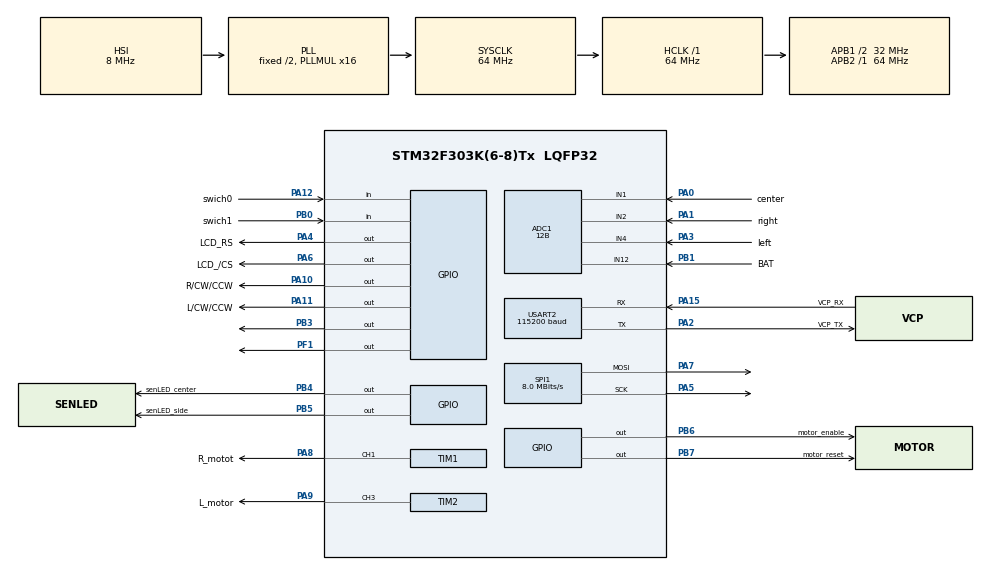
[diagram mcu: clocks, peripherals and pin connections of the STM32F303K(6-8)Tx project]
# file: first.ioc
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ADC1.Channel-0\#ChannelRegularConversion=ADC_CHANNEL_12
ADC1.Channel-1\#ChannelRegularConversion=ADC_CHANNEL_1
ADC1.Channel-2\#ChannelRegularConversion=ADC_CHANNEL_4
ADC1.Channel-5\#ChannelRegularConversion=ADC_CHANNEL_2
ADC1.ClockPrescaler=ADC_CLOCK_SYNC_PCLK_DIV4
ADC1.ContinuousConvMode=ENABLE
ADC1.DMAContinuousRequests=ENABLE
ADC1.DataAlign=ADC_DATAALIGN_RIGHT
ADC1.DiscontinuousConvMode=DISABLE
ADC1.EOCSelection=ADC_EOC_SINGLE_CONV
ADC1.EnableAnalogWatchDog1=false
ADC1.EnableAnalogWatchDog2=false
ADC1.EnableAnalogWatchDog3=false
ADC1.EnableInjectedConversion=DISABLE
ADC1.EnableRegularConversion=ENABLE
ADC1.ExternalTrigConv=ADC_SOFTWARE_START
ADC1.ExternalTrigConvEdge=ADC_EXTERNALTRIGCONVEDGE_NONE
ADC1.LowPowerAutoWait=DISABLE
ADC1.NbrOfConversion=4
ADC1.NbrOfConversionFlag=1
ADC1.Offset-0\#ChannelRegularConversion=0
ADC1.Offset-1\#ChannelRegularConversion=0
ADC1.Offset-2\#ChannelRegularConversion=0
ADC1.Offset-5\#ChannelRegularConversion=0
ADC1.OffsetNumber-0\#ChannelRegularConversion=ADC_OFFSET_NONE
ADC1.OffsetNumber-1\#ChannelRegularConversion=ADC_OFFSET_NONE
ADC1.OffsetNumber-2\#ChannelRegularConversion=ADC_OFFSET_NONE
ADC1.OffsetNumber-5\#ChannelRegularConversion=ADC_OFFSET_NONE
ADC1.Overrun=ADC_OVR_DATA_OVERWRITTEN
ADC1.Rank-0\#ChannelRegularConversion=1
ADC1.Rank-1\#ChannelRegularConversion=2
ADC1.Rank-2\#ChannelRegularConversion=3
ADC1.Rank-5\#ChannelRegularConversion=4
ADC1.Resolution=ADC_RESOLUTION_12B
ADC1.SamplingTime-0\#ChannelRegularConversion=ADC_SAMPLETIME_19CYCLES_5
ADC1.SamplingTime-1\#ChannelRegularConversion=ADC_SAMPLETIME_19CYCLES_5
ADC1.SamplingTime-2\#ChannelRegularConversion=ADC_SAMPLETIME_19CYCLES_5
ADC1.SamplingTime-5\#ChannelRegularConversion=ADC_SAMPLETIME_19CYCLES_5
ADC1.ScanConvMode=ADC_SCAN_ENABLE
ADC1.SubFamily=STM32F303x8
ADC1.master=1
Dma.ADC1.0.Direction=DMA_PERIPH_TO_MEMORY
Dma.ADC1.0.Instance=DMA1_Channel1
Dma.ADC1.0.MemDataAlignment=DMA_MDATAALIGN_HALFWORD
Dma.ADC1.0.MemInc=DMA_MINC_ENABLE
Dma.ADC1.0.Mode=DMA_CIRCULAR
Dma.ADC1.0.PeriphDataAlignment=DMA_PDATAALIGN_HALFWORD
Dma.ADC1.0.PeriphInc=DMA_PINC_DISABLE
Dma.ADC1.0.Priority=DMA_PRIORITY_LOW
Dma.Request0=ADC1
Mcu.Family=STM32F3
Mcu.Name=STM32F303K(6-8)Tx
Mcu.Package=LQFP32
NVIC.DMA1_Channel1_IRQn=true\:4\:0\:true\:false\:true\:false
NVIC.PriorityGroup=NVIC_PRIORITYGROUP_4
NVIC.TIM1_CC_IRQn=true\:0\:0\:false\:false\:true\:true
NVIC.TIM1_UP_TIM16_IRQn=true\:1\:0\:true\:false\:true\:true
NVIC.TIM2_IRQn=true\:2\:0\:true\:false\:true\:true
NVIC.TIM3_IRQn=true\:0\:0\:false\:false\:true\:true
NVIC.TIM6_DAC1_IRQn=true\:3\:0\:true\:false\:true\:true
PA0.GPIO_Label=center
PA0.Mode=IN1-Single-Ended
PA0.Signal=ADC1_IN1
PA1.GPIO_Label=right
PA1.Mode=IN2-Single-Ended
PA1.Signal=ADC1_IN2
PA10.GPIO_Label=R/CW/CCW
PA10.Signal=GPIO_Output
PA11.GPIO_Label=L/CW/CCW
PA11.Signal=GPIO_Output
PA12.GPIO_Label=swich0
PA12.GPIO_PuPd=GPIO_PULLUP
PA12.Signal=GPIO_Input
PA13.GPIO_Label=SWDIO
PA13.Mode=Serial_Wire
PA13.Signal=SYS_JTMS-SWDIO
PA14.GPIO_Label=SWCLK
PA14.Mode=Serial_Wire
PA14.Signal=SYS_JTCK-SWCLK
PA15.GPIO_Label=VCP_RX
PA15.Mode=Asynchronous
PA15.Signal=USART2_RX
PA2.GPIO_Label=VCP_TX
PA2.Mode=Asynchronous
PA2.Signal=USART2_TX
PA3.GPIO_Label=left
PA3.Mode=IN4-Single-Ended
PA3.Signal=ADC1_IN4
PA4.GPIO_Label=LCD_RS
PA4.GPIO_PuPd=GPIO_PULLDOWN
PA4.Signal=GPIO_Output
PA5.GPIO_PuPd=GPIO_PULLUP
PA5.Mode=TX_Only_Simplex_Unidirect_Master
PA5.Signal=SPI1_SCK
PA6.GPIO_Label=LCD_/CS
PA6.GPIO_PuPd=GPIO_PULLUP
PA6.Signal=GPIO_Output
PA7.GPIO_PuPd=GPIO_PULLUP
PA7.Mode=TX_Only_Simplex_Unidirect_Master
PA7.Signal=SPI1_MOSI
PA8.GPIO_Label=R_motot
PA8.Signal=S_TIM1_CH1
PA9.GPIO_Label=L_motor
PA9.Signal=S_TIM2_CH3
PB0.GPIO_Label=swich1
PB0.GPIO_PuPd=GPIO_PULLUP
PB0.Signal=GPIO_Input
PB1.GPIO_Label=BAT
PB1.Mode=IN12-Single-Ended
PB1.Signal=ADC1_IN12
PB3.Signal=GPIO_Output
PB4.GPIO_Label=senLED_center
PB4.Signal=GPIO_Output
PB5.GPIO_Label=senLED_side
PB5.Signal=GPIO_Output
PB6.GPIO_Label=motor_enable
PB6.Signal=GPIO_Output
PB7.GPIO_Label=motor_reset
PB7.Signal=GPIO_Output
PF0\ /\ OSC_IN.GPIO_Label=MCO
PF0\ /\ OSC_IN.Mode=HSE-External-Clock-Source
PF0\ /\ OSC_IN.Signal=RCC_OSC_IN
PF1\ /\ OSC_OUT.Signal=GPIO_Output
ProjectManager.HeapSize=0x200
ProjectManager.StackSize=0x400
ProjectManager.TargetToolchain=SW4STM32
RCC.AHBFreq_Value=64000000
RCC.APB1CLKDivider=RCC_HCLK_DIV2
RCC.APB1Freq_Value=32000000
RCC.APB1TimFreq_Value=64000000
RCC.APB2Freq_Value=64000000
RCC.APB2TimFreq_Value=64000000
RCC.CortexFreq_Value=64000000
RCC.HCLKFreq_Value=64000000
RCC.HSE_VALUE=12000000
RCC.HSI_VALUE=8000000
RCC.PLLMUL=RCC_PLL_MUL16
RCC.SYSCLKFreq_VALUE=64000000
RCC.SYSCLKSourceVirtual=RCC_SYSCLKSOURCE_PLLCLK
SH.S_TIM1_CH1.0=TIM1_CH1,PWM Generation1 CH1
SH.S_TIM2_CH3.0=TIM2_CH3,PWM Generation3 CH3
SPI1.BaudRatePrescaler=SPI_BAUDRATEPRESCALER_8
SPI1.CLKPhase=SPI_PHASE_2EDGE
SPI1.CLKPolarity=SPI_POLARITY_HIGH
SPI1.CalculateBaudRate=8.0 MBits/s
SPI1.DataSize=SPI_DATASIZE_8BIT
SPI1.Direction=SPI_DIRECTION_2LINES
SPI1.Mode=SPI_MODE_MASTER
SPI1.VirtualType=VM_MASTER
TIM1.AutoReloadPreload=TIM_AUTORELOAD_PRELOAD_ENABLE
TIM1.Channel-PWM\ Generation1\ CH1=TIM_CHANNEL_1
TIM1.Period=10000-1
TIM1.Prescaler=8-1
TIM1.Pulse-PWM\ Generation1\ CH1=5000-1
TIM2.AutoReloadPreload=TIM_AUTORELOAD_PRELOAD_ENABLE
TIM2.Channel-PWM\ Generation3\ CH3=TIM_CHANNEL_3
TIM2.Period=10000-1
TIM2.Prescaler=8-1
TIM2.Pulse-PWM\ Generation3\ CH3=5000-1
TIM3.AutoReloadPreload=TIM_AUTORELOAD_PRELOAD_ENABLE
TIM3.Period=2273-1
TIM3.Prescaler=72-1
TIM6.AutoReloadPreload=TIM_AUTORELOAD_PRELOAD_ENABLE
TIM6.Period=1000-1
TIM6.Prescaler=64-1
USART2.BaudRate=115200
USART2.VirtualMode-Asynchronous=VM_ASYNC
USART2.WordLength=WORDLENGTH_8B
VP_TIM3_VS_ClockSourceINT.Mode=Internal
VP_TIM6_VS_ClockSourceINT.Mode=Enable_Timer
board=NUCLEO-F303K8

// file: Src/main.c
/**
 ******************************************************************************
 * @file           : main.c
 * @brief          : Main program body
 ******************************************************************************
 ** This notice applies to any and all portions of this file
 * that are not between comment pairs USER CODE BEGIN and
 * USER CODE END. Other portions of this file, whether
 * inserted by the user or by software development tools
 * are owned by their respective copyright owners.
 *
 * COPYRIGHT(c) 2019 STMicroelectronics
 *
 * Redistribution and use in source and binary forms, with or without modification,
 * are permitted provided that the following conditions are met:
 *   1. Redistributions of source code must retain the above copyright notice,
 *      this list of conditions and the following disclaimer.
 *   2. Redistributions in binary form must reproduce the above copyright notice,
 *      this list of conditions and the following disclaimer in the documentation
 *      and/or other materials provided with the distribution.
 *   3. Neither the name of STMicroelectronics nor the names of its contributors
 *      may be used to endorse or promote products derived from this software
 *      without specific prior written permission.
 *
 * THIS SOFTWARE IS PROVIDED BY THE COPYRIGHT HOLDERS AND CONTRIBUTORS "AS IS"
 * AND ANY EXPRESS OR IMPLIED WARRANTIES, INCLUDING, BUT NOT LIMITED TO, THE
 * IMPLIED WARRANTIES OF MERCHANTABILITY AND FITNESS FOR A PARTICULAR PURPOSE ARE
 * DISCLAIMED. IN NO EVENT SHALL THE COPYRIGHT HOLDER OR CONTRIBUTORS BE LIABLE
 * FOR ANY DIRECT, INDIRECT, INCIDENTAL, SPECIAL, EXEMPLARY, OR CONSEQUENTIAL
 * DAMAGES (INCLUDING, BUT NOT LIMITED TO, PROCUREMENT OF SUBSTITUTE GOODS OR
 * SERVICES; LOSS OF USE, DATA, OR PROFITS; OR BUSINESS INTERRUPTION) HOWEVER
 * CAUSED AND ON ANY THEORY OF LIABILITY, WHETHER IN CONTRACT, STRICT LIABILITY,
 * OR TORT (INCLUDING NEGLIGENCE OR OTHERWISE) ARISING IN ANY WAY OUT OF THE USE
 * OF THIS SOFTWARE, EVEN IF ADVISED OF THE POSSIBILITY OF SUCH DAMAGE.
 *
 ******************************************************************************
 */
#include "main.h"
#include "stm32f3xx_hal.h"
#include "adc.h"
#include "dma.h"
#include "spi.h"
#include "tim.h"
#include "usart.h"
#include "gpio.h"

/* USER CODE BEGIN Includes */
#include "aqm1248a.h"
#include "myassign.h"
#include <math.h>
#include <stdint.h>
#include "motor.h"
#include "AD.h"
#include "wall.h"
#include "turn.h"
#include "hidarite.h"
#include "Traacceleration.h"
#include "map.h"
#include "modeselect.h"
#include "adachi.h"
extern uint16_t g_ADCBuffer[4];

//extern tarparameter g_targetTrans;

/* USER CODE END Includes */

/* USER CODE BEGIN PV */
/* Private variables ---------------------------------------------------------*/
#ifdef __GNUC__
/* With GCC/RAISONANCE, small printf (option LD Linker->Libraries->Small printf
 set to 'Yes') calls __io_putchar() */
#define PUTCHAR_PROTOTYPE int __io_putchar(int ch)
#else
#define PUTCHAR_PROTOTYPE int fputc(int ch, FILE *f)
#endif /* __GNUC__ */

/**
 * @brief  Retargets the C library printf function to the USART.
 * @param  None
 * @retval None
 */
PUTCHAR_PROTOTYPE {
	/* Place your implementation of fputc here */
	/* e.g. write a character to the USART3 and Loop until the end of transmission */
	HAL_UART_Transmit(&huart2, (uint8_t *) &ch, 1, 0xFFFF);

	return ch;
}
/* USER CODE END PV */

void SystemClock_Config(void);

/* USER CODE BEGIN PFP */
/* Private function prototypes -----------------------------------------------*/

/* USER CODE END PFP */

int main(void) {

	/* MCU Configuration----------------------------------------------------------*/

	/* Reset of all peripherals, Initializes the Flash interface and the Systick. */
	HAL_Init();

	/* Configure the system clock */
	SystemClock_Config();

	/* Initialize all configured peripherals */
	MX_GPIO_Init();
	MX_DMA_Init();
	MX_ADC1_Init();
	MX_SPI1_Init();
	MX_TIM1_Init();
	MX_USART2_UART_Init();
	MX_TIM3_Init();
	MX_TIM6_Init();
	MX_TIM2_Init();
	/* USER CODE BEGIN 2 */
	initAQM1248A();
	HAL_TIM_Base_Start_IT(&htim6);
	HAL_TIM_Base_Start_IT(&htim1);
	HAL_TIM_PWM_Start(&htim1, TIM_CHANNEL_1);
	HAL_TIM_Base_Start_IT(&htim2);
	HAL_TIM_PWM_Start(&htim2, TIM_CHANNEL_3);
	HAL_ADC_Start_DMA(&hadc1, (uint32_t *) g_ADCBuffer, 4);
	HAL_Delay(10);
	AD_bat();
	/* USER CODE END 2 */

	/* Infinite loop */

	/* USER CODE BEGIN 3 */
	g_location.x_goal = 1;
	g_location.y_goal = 1;
	adachi();
	printWall();
//	modeSelect();

	/* USER CODE END 3 */

}

void SystemClock_Config(void) {

	RCC_OscInitTypeDef RCC_OscInitStruct;
	RCC_ClkInitTypeDef RCC_ClkInitStruct;
	RCC_PeriphCLKInitTypeDef PeriphClkInit;

	/**Initializes the CPU, AHB and APB busses clocks
	 */
	RCC_OscInitStruct.OscillatorType = RCC_OSCILLATORTYPE_HSI;
	RCC_OscInitStruct.HSIState = RCC_HSI_ON;
	RCC_OscInitStruct.HSICalibrationValue = 16;
	RCC_OscInitStruct.PLL.PLLState = RCC_PLL_ON;
	RCC_OscInitStruct.PLL.PLLSource = RCC_PLLSOURCE_HSI;
	RCC_OscInitStruct.PLL.PLLMUL = RCC_PLL_MUL16;
	if (HAL_RCC_OscConfig(&RCC_OscInitStruct) != HAL_OK) {
		_Error_Handler(__FILE__, __LINE__);
	}

	/**Initializes the CPU, AHB and APB busses clocks
	 */
	RCC_ClkInitStruct.ClockType = RCC_CLOCKTYPE_HCLK | RCC_CLOCKTYPE_SYSCLK
			| RCC_CLOCKTYPE_PCLK1 | RCC_CLOCKTYPE_PCLK2;
	RCC_ClkInitStruct.SYSCLKSource = RCC_SYSCLKSOURCE_PLLCLK;
	RCC_ClkInitStruct.AHBCLKDivider = RCC_SYSCLK_DIV1;
	RCC_ClkInitStruct.APB1CLKDivider = RCC_HCLK_DIV2;
	RCC_ClkInitStruct.APB2CLKDivider = RCC_HCLK_DIV1;

	if (HAL_RCC_ClockConfig(&RCC_ClkInitStruct, FLASH_LATENCY_2) != HAL_OK) {
		_Error_Handler(__FILE__, __LINE__);
	}

	PeriphClkInit.PeriphClockSelection = RCC_PERIPHCLK_TIM1;
	PeriphClkInit.Tim1ClockSelection = RCC_TIM1CLK_HCLK;
	if (HAL_RCCEx_PeriphCLKConfig(&PeriphClkInit) != HAL_OK) {
		_Error_Handler(__FILE__, __LINE__);
	}

	/**Configure the Systick interrupt time
	 */
	HAL_SYSTICK_Config(HAL_RCC_GetHCLKFreq() / 1000);

	/**Configure the Systick
	 */
	HAL_SYSTICK_CLKSourceConfig(SYSTICK_CLKSOURCE_HCLK);

	/* SysTick_IRQn interrupt configuration */
	HAL_NVIC_SetPriority(SysTick_IRQn, 0, 0);
}

void _Error_Handler(char *file, int line) {
}

/************************ (C) COPYRIGHT STMicroelectronics *****END OF FILE****/
